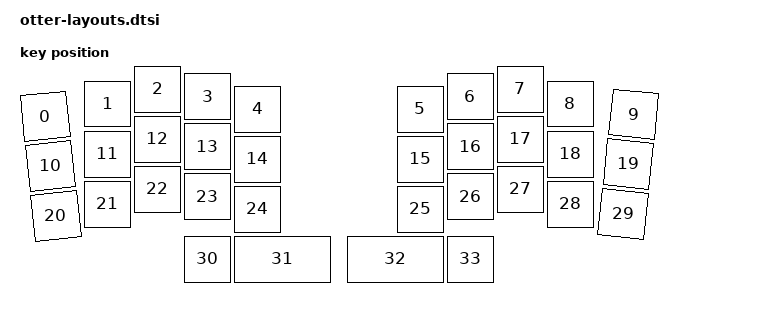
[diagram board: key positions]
#include <physical_layouts.dtsi>

/ {
    physical_layout_otter: physical_layout_otter {
        compatible = "zmk,physical-layout";
        display-name = "otter";
        keys  //                     w   h    x    y     rot    rx    ry
            = <&key_physical_attrs 100 100  730   95  (-600)  1600     0>
            , <&key_physical_attrs 100 100  875  155       0     0     0>
            , <&key_physical_attrs 100 100  975  125       0     0     0>
            , <&key_physical_attrs 100 100 1075  140       0     0     0>
            , <&key_physical_attrs 100 100 1175  165       0     0     0>
            , <&key_physical_attrs 100 100 1500  165       0     0     0>
            , <&key_physical_attrs 100 100 1600  140       0     0     0>
            , <&key_physical_attrs 100 100 1700  125       0     0     0>
            , <&key_physical_attrs 100 100 1800  155       0     0     0>
            , <&key_physical_attrs 100 100 1948  135     600  1600     0>
            , <&key_physical_attrs 100 100  730  195  (-600)  1600     0>
            , <&key_physical_attrs 100 100  875  255       0     0     0>
            , <&key_physical_attrs 100 100  975  225       0     0     0>
            , <&key_physical_attrs 100 100 1075  240       0     0     0>
            , <&key_physical_attrs 100 100 1175  265       0     0     0>
            , <&key_physical_attrs 100 100 1500  265       0     0     0>
            , <&key_physical_attrs 100 100 1600  240       0     0     0>
            , <&key_physical_attrs 100 100 1700  225       0     0     0>
            , <&key_physical_attrs 100 100 1800  255       0     0     0>
            , <&key_physical_attrs 100 100 1948  235     600  1600     0>
            , <&key_physical_attrs 100 100  730  295  (-600)  1600     0>
            , <&key_physical_attrs 100 100  875  355       0     0     0>
            , <&key_physical_attrs 100 100  975  325       0     0     0>
            , <&key_physical_attrs 100 100 1075  340       0     0     0>
            , <&key_physical_attrs 100 100 1175  365       0     0     0>
            , <&key_physical_attrs 100 100 1500  365       0     0     0>
            , <&key_physical_attrs 100 100 1600  340       0     0     0>
            , <&key_physical_attrs 100 100 1700  325       0     0     0>
            , <&key_physical_attrs 100 100 1800  355       0     0     0>
            , <&key_physical_attrs 100 100 1948  335     600  1600     0>
            , <&key_physical_attrs 100 100 1075  465       0     0     0>
            , <&key_physical_attrs 200 100 1175  465       0     0     0>
            , <&key_physical_attrs 200 100 1400  465       0     0     0>
            , <&key_physical_attrs 100 100 1600  465       0     0     0>
            ;
    };
};
